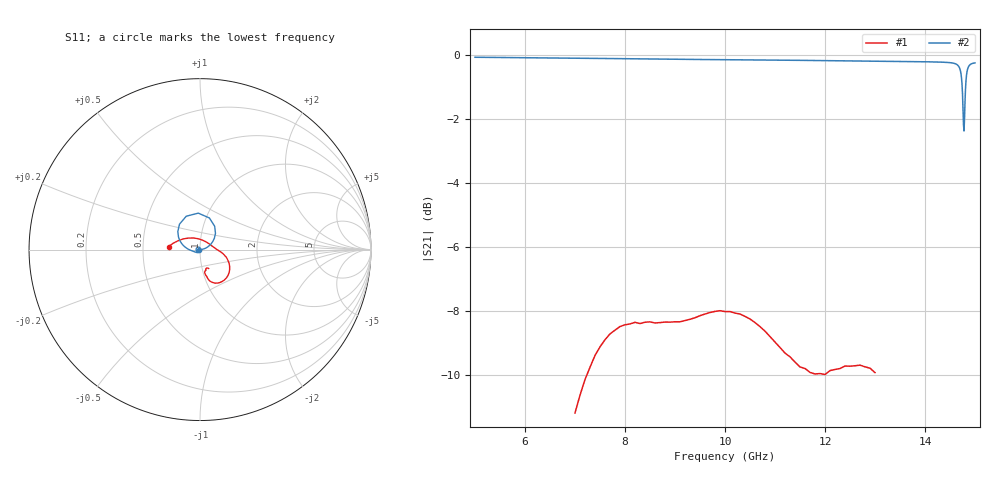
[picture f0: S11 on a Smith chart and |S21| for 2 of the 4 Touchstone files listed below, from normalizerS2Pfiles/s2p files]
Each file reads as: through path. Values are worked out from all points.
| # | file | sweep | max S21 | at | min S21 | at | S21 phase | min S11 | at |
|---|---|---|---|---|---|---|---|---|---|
| 1 | AP003D01_RX_ATT_State31.s2p | 7 GHz to 13 GHz | -7.98 dB | 9.9 GHz | -11.2 dB | 7 GHz | 28 deg at 10 GHz | -24.9 dB | 7.7 GHz |
| 2 | Test_Line_20170724.s2p | 5 GHz to 15 GHz | -0.07 dB | 5 GHz | -2.4 dB | 14.78 GHz | 174 deg at 10 GHz | -84.5 dB | 5.82 GHz |
| 3 | Test_Line_dB.s2p | 5 GHz to 15 GHz | -0.07 dB | 5 GHz | -2.4 dB | 14.78 GHz | 174 deg at 10 GHz | -84.5 dB | 5.82 GHz |
| 4 | Test_Line_ReIm.s2p | 5 GHz to 15 GHz | -0.07 dB | 5 GHz | -2.4 dB | 14.78 GHz | 174 deg at 10 GHz | -84.5 dB | 5.82 GHz |
